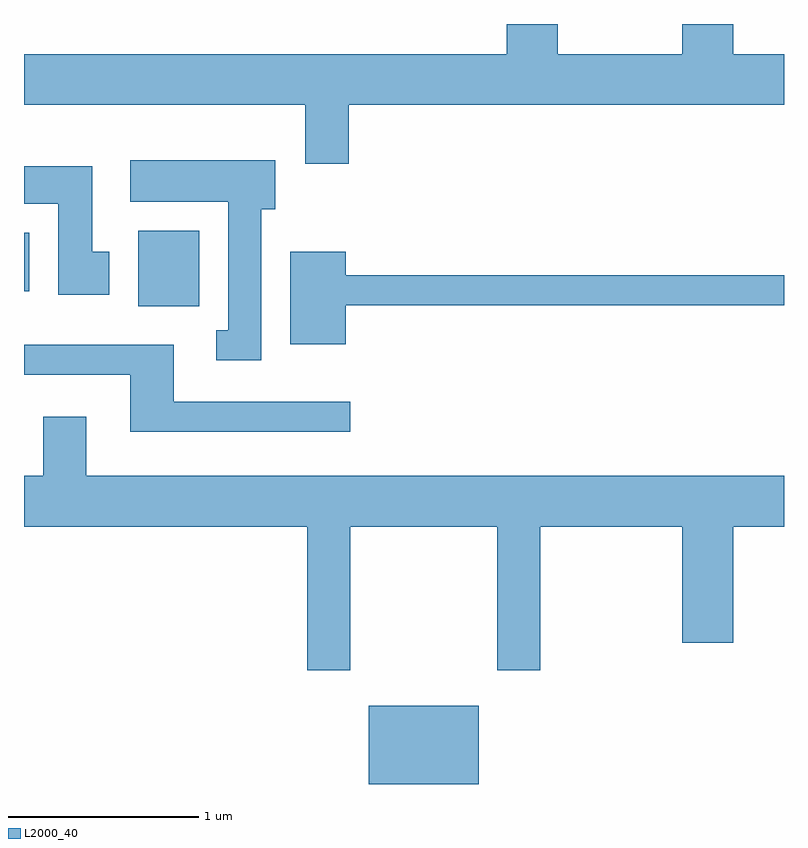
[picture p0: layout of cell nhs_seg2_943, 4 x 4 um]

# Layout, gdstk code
import gdstk
lib = gdstk.Library(unit=1e-6, precision=1e-09)
def R(c, l, rs):  # rectangles x0, y0, x1, y1
    for r in rs: c.add(gdstk.rectangle(r[:2], r[2:], *l))
def P(c, l, *ps):  # polygons
    for p in ps: c.add(gdstk.Polygon(p, *l))
L2000_40 = (2000, 40)

nhs_seg2_943 = lib.new_cell('nhs_seg2_943')
R(nhs_seg2_943, L2000_40, [(213.426,1095.802,214.004,1096.214), (212.211,1098.316,212.534,1098.714), (211.611,1098.396,211.639,1098.704)])
P(nhs_seg2_943, L2000_40, [(213.319,1099.376),(215.611,1099.376),(215.611,1099.644),(215.344,1099.644),(215.344,1099.802),(215.076,1099.802),(215.076,1099.644),(214.419,1099.644),(214.419,1099.802),(214.151,1099.802),(214.151,1099.644),(211.611,1099.644),(211.611,1099.376),(213.091,1099.376),(213.091,1099.066),(213.319,1099.066)],
  [(212.859,1098.826),(212.934,1098.826),(212.934,1099.084),(212.171,1099.084),(212.171,1098.866),(212.686,1098.866),(212.686,1098.189),(212.623,1098.189),(212.623,1098.031),(212.859,1098.031)],
  [(212.059,1098.604),(211.969,1098.604),(211.969,1099.054),(211.611,1099.054),(211.611,1098.856),(211.791,1098.856),(211.791,1098.376),(212.059,1098.376)],
  [(213.304,1098.321),(215.611,1098.321),(215.611,1098.479),(213.304,1098.479),(213.304,1098.604),(213.011,1098.604),(213.011,1098.116),(213.304,1098.116)],
  [(213.328,1097.814),(212.399,1097.814),(212.399,1098.114),(211.611,1098.114),(211.611,1097.956),(212.171,1097.956),(212.171,1097.656),(213.328,1097.656)],
  [(213.329,1097.156),(214.101,1097.156),(214.101,1096.401),(214.329,1096.401),(214.329,1097.156),(215.076,1097.156),(215.076,1096.546),(215.344,1096.546),(215.344,1097.156),(215.611,1097.156),(215.611,1097.424),(211.939,1097.424),(211.939,1097.734),(211.711,1097.734),(211.711,1097.424),(211.611,1097.424),(211.611,1097.156),(213.101,1097.156),(213.101,1096.401),(213.329,1096.401)])

lib.write_gds('nhs_seg2_943.gds')
